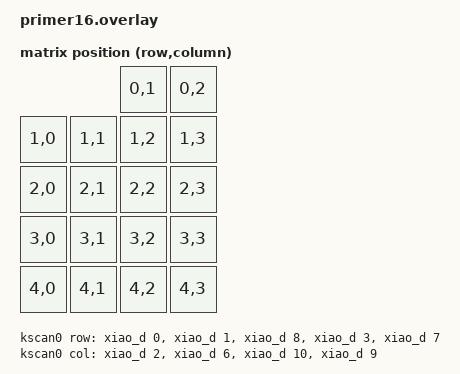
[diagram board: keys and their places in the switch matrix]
#include <dt-bindings/zmk/matrix_transform.h>
#include <zephyr/dt-bindings/i2c/i2c.h>

/ {
    chosen {
        // zmk,kscan = &kscan0;
        zmk,physical-layout = &physical_layout0;
        zephyr,display = &ssd1306;
    };

    kscan0: kscan0 {
        compatible = "zmk,kscan-gpio-matrix";
        status = "disabled";
        diode-direction = "col2row";
        wakeup-source;

        // col2row: 列(col)側が出力、行(row)側が入力（プルダウン必要）
        // ※実機PCBのダイオード向き(QMK側 diode_direction: COL2ROW)に合わせています
        // ★実際の配線に合わせて確定
        row-gpios
            = <&xiao_d 0 (GPIO_ACTIVE_HIGH | GPIO_PULL_DOWN)>
            , <&xiao_d 1 (GPIO_ACTIVE_HIGH | GPIO_PULL_DOWN)>
            , <&xiao_d 8 (GPIO_ACTIVE_HIGH | GPIO_PULL_DOWN)>
            , <&xiao_d 3 (GPIO_ACTIVE_HIGH | GPIO_PULL_DOWN)>
            , <&xiao_d 7 (GPIO_ACTIVE_HIGH | GPIO_PULL_DOWN)>
            ;

        // col0は元々xiao_d5だったが、OLED用I2C(D4=SDA, D5=SCL)を確保するためxiao_d2に変更
        col-gpios
            = <&xiao_d 2 GPIO_ACTIVE_HIGH>
            , <&xiao_d 6 GPIO_ACTIVE_HIGH>
            , <&xiao_d 10 GPIO_ACTIVE_HIGH>
            , <&xiao_d 9 GPIO_ACTIVE_HIGH>
            ;
    };

    // row0はcol1, col2にのみスイッチがあり、col0, col3は未使用のため、マップから除外しています。
    // (5行 x 4列 = 20マス中、18マスのみキーが存在／QMK側info.jsonのlayoutsと一致させています)
    default_transform: keymap_transform0 {
        compatible = "zmk,matrix-transform";
        columns = <4>;
        rows = <5>;

        map = <
        //                      Backspace   NumLock
                                 RC(0,1)     RC(0,2)
        //   7         8         9           /
             RC(1,0)   RC(1,1)   RC(1,2)     RC(1,3)
        //   4         5         6           *
             RC(2,0)   RC(2,1)   RC(2,2)     RC(2,3)
        //   1         2         3           -
             RC(3,0)   RC(3,1)   RC(3,2)     RC(3,3)
        //   0         .         Enter       +
             RC(4,0)   RC(4,1)   RC(4,2)     RC(4,3)
        >;
    };

    physical_layout0: physical_layout_0 {
        compatible = "zmk,physical-layout";
        display-name = "Default Layout";
        transform = <&default_transform>;
    };
};

// 拡張ボードのOLED(0.96インチ SSD1306, I2C接続, D4=SDA/D5=SCL)
&i2c0_default {
    group1 {
        bias-pull-up;
    };
};

&i2c0 {
    status = "okay";
    clock-frequency = <I2C_BITRATE_STANDARD>; // 100kHzに落として安定性を確認

    ssd1306: ssd1306@3c {
        compatible = "solomon,ssd1306fb";
        reg = <0x3c>;
        width = <128>;
        height = <64>;
        segment-offset = <0>;
        page-offset = <0>;
        display-offset = <0>;
        multiplex-ratio = <63>;
        segment-remap;
        com-invdir;
        prechargep = <0xf1>;
    };
};
